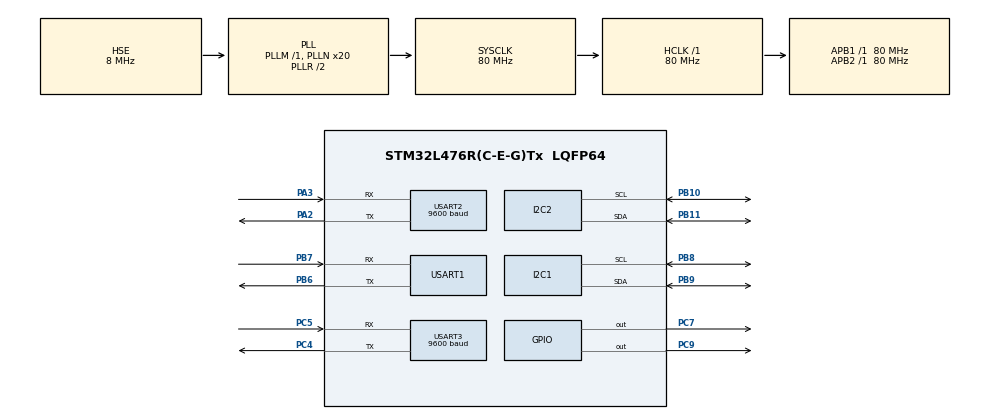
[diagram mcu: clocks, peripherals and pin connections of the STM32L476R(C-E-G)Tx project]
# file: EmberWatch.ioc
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I2C1.Timing=0x10D19CE4
I2C2.Timing=0x10D19CE4
Mcu.Family=STM32L4
Mcu.Name=STM32L476R(C-E-G)Tx
Mcu.Package=LQFP64
NVIC.PriorityGroup=NVIC_PRIORITYGROUP_4
PA2.Mode=Asynchronous
PA2.Signal=USART2_TX
PA3.Mode=Asynchronous
PA3.Signal=USART2_RX
PB10.Mode=I2C
PB10.Signal=I2C2_SCL
PB11.Mode=I2C
PB11.Signal=I2C2_SDA
PB6.Mode=Asynchronous
PB6.Signal=USART1_TX
PB7.Mode=Asynchronous
PB7.Signal=USART1_RX
PB8.Mode=I2C
PB8.Signal=I2C1_SCL
PB9.Mode=I2C
PB9.Signal=I2C1_SDA
PC14-OSC32_IN\ (PC14).Mode=LSE-External-Oscillator
PC14-OSC32_IN\ (PC14).Signal=RCC_OSC32_IN
PC15-OSC32_OUT\ (PC15).Mode=LSE-External-Oscillator
PC15-OSC32_OUT\ (PC15).Signal=RCC_OSC32_OUT
PC4.Mode=Asynchronous
PC4.Signal=USART3_TX
PC5.Mode=Asynchronous
PC5.Signal=USART3_RX
PC7.Signal=GPIO_Output
PC9.Signal=GPIO_Output
PH0-OSC_IN\ (PH0).Mode=HSE-External-Oscillator
PH0-OSC_IN\ (PH0).Signal=RCC_OSC_IN
PH1-OSC_OUT\ (PH1).Mode=HSE-External-Oscillator
PH1-OSC_OUT\ (PH1).Signal=RCC_OSC_OUT
ProjectManager.HeapSize=0x200
ProjectManager.StackSize=0x400
ProjectManager.TargetToolchain=STM32CubeIDE
RCC.ADCFreq_Value=32000000
RCC.AHBFreq_Value=80000000
RCC.APB1Freq_Value=80000000
RCC.APB1TimFreq_Value=80000000
RCC.APB2Freq_Value=80000000
RCC.APB2TimFreq_Value=80000000
RCC.CortexFreq_Value=80000000
RCC.HCLKFreq_Value=80000000
RCC.HSE_VALUE=8000000
RCC.HSI_VALUE=16000000
RCC.LSE_Drive_CapabilityArg=+LSE_Drive_Capability
RCC.MSIAutoCalibration=DISABLED
RCC.MSI_VALUE=4000000
RCC.PLLN=20
RCC.PLLSourceVirtual=RCC_PLLSOURCE_HSE
RCC.RTCClockSelection=RCC_RTCCLKSOURCE_LSE
RCC.SYSCLKFreq_VALUE=80000000
RCC.SYSCLKSource=RCC_SYSCLKSOURCE_PLLCLK
RCC.USBFreq_Value=32000000
RCC.VCOOutputFreq_Value=160000000
USART1.VirtualMode-Asynchronous=VM_ASYNC
USART2.BaudRate=9600
USART2.VirtualMode-Asynchronous=VM_ASYNC
USART3.BaudRate=9600
USART3.VirtualMode-Asynchronous=VM_ASYNC
VP_RTC_VS_RTC_Activate.Mode=RTC_Enabled
board=custom

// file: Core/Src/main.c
/* USER CODE BEGIN Header */
/**
  ******************************************************************************
  * @file           : main.c
  * @brief          : Main program body
  ******************************************************************************
  * @attention
  *
  * Copyright (c) 2026 STMicroelectronics.
  * All rights reserved.
  *
  * This software is licensed under terms that can be found in the LICENSE file
  * in the root directory of this software component.
  * If no LICENSE file comes with this software, it is provided AS-IS.
  *
  ******************************************************************************
  */
/* USER CODE END Header */
#include "main.h"

/* USER CODE BEGIN Includes */
#include "bme.h"
#include "co.h"
#include "co2.h"
#include "gps.h"
#include "lora.h"
/* USER CODE END Includes */

I2C_HandleTypeDef hi2c1;
I2C_HandleTypeDef hi2c2;

RTC_HandleTypeDef hrtc;

UART_HandleTypeDef huart1;
UART_HandleTypeDef huart2;
UART_HandleTypeDef huart3;

void SystemClock_Config(void);
static void MX_GPIO_Init(void);
static void MX_I2C1_Init(void);
static void MX_I2C2_Init(void);
static void MX_USART1_UART_Init(void);
static void MX_USART2_UART_Init(void);
static void MX_USART3_UART_Init(void);
static void MX_RTC_Init(void);

int main(void)
{

  /* MCU Configuration--------------------------------------------------------*/

  /* Reset of all peripherals, Initializes the Flash interface and the Systick. */
  HAL_Init();

  /* Configure the system clock */
  SystemClock_Config();

  /* Initialize all configured peripherals */
  MX_GPIO_Init();
  MX_I2C1_Init();
  MX_I2C2_Init();
  MX_USART1_UART_Init();
  MX_USART2_UART_Init();
  MX_USART3_UART_Init();
  MX_RTC_Init();

  /* USER CODE BEGIN 2 */
  LoRa_Init();
  BME280_Init();
  CO_Init();
  CO2_Init();
  float temp, hum, press, co;
  uint16_t co2;
  GPS_Data_t gps = {0};

  // Send GPS on startup
//  uint32_t gps_start = HAL_GetTick();
//  while ((HAL_GetTick() - gps_start) < 30000) { // wait up to 30s
//
//      GPS_TryRead(&gps);
//      if(gps.valid){
//		  LoRa_SendLocationPacket(gps.lat, gps.lon);
//		  break;
//      }
//      HAL_Delay(500);
//  }

  uint32_t last_data_send = HAL_GetTick();
  uint32_t last_loc_send = HAL_GetTick();
  uint32_t last_toggle = HAL_GetTick();

  /* USER CODE END 2 */

  /* Infinite loop */
  while (1)
  {

    /* USER CODE BEGIN 3 */

	  // LED test code
	  uint32_t now = HAL_GetTick();
	  if ((now - last_toggle) >= 250) {
	      last_toggle += 250;
	      HAL_GPIO_TogglePin(GPIOC, GPIO_PIN_7 | GPIO_PIN_9);
	  }

	  // Location data
	  if ((now - last_loc_send) >= 50000) {
		  last_loc_send += 50000;
		  GPS_TryRead(&gps);
		  LoRa_SendLocationPacket(gps.lat, gps.lon);
	  }

	  // Sensor data
	  if ((now - last_data_send) >= 5000) {
	      last_data_send += 5000;
	      GPS_TryRead(&gps);
	      LoRa_SendLocationPacket(gps.lat, gps.lon);
	      BME280_Read(&temp, &hum, &press);
	      CO_Read(&co);
	      CO2_Read(&co2);
	      LoRa_SendBasePacket(temp, hum, press, co, co2);
	  }

  }
  /* USER CODE END 3 */
}

void SystemClock_Config(void)
{
  RCC_OscInitTypeDef RCC_OscInitStruct = {0};
  RCC_ClkInitTypeDef RCC_ClkInitStruct = {0};

  /** Configure the main internal regulator output voltage
  */
  if (HAL_PWREx_ControlVoltageScaling(PWR_REGULATOR_VOLTAGE_SCALE1) != HAL_OK)
  {
    Error_Handler();
  }

  /** Configure LSE Drive Capability
  */
  HAL_PWR_EnableBkUpAccess();
  __HAL_RCC_LSEDRIVE_CONFIG(RCC_LSEDRIVE_LOW);

  /** Initializes the RCC Oscillators according to the specified parameters
  * in the RCC_OscInitTypeDef structure.
  */
  RCC_OscInitStruct.OscillatorType = RCC_OSCILLATORTYPE_HSE|RCC_OSCILLATORTYPE_LSE;
  RCC_OscInitStruct.HSEState = RCC_HSE_ON;
  RCC_OscInitStruct.LSEState = RCC_LSE_ON;
  RCC_OscInitStruct.PLL.PLLState = RCC_PLL_ON;
  RCC_OscInitStruct.PLL.PLLSource = RCC_PLLSOURCE_HSE;
  RCC_OscInitStruct.PLL.PLLM = 1;
  RCC_OscInitStruct.PLL.PLLN = 20;
  RCC_OscInitStruct.PLL.PLLP = RCC_PLLP_DIV7;
  RCC_OscInitStruct.PLL.PLLQ = RCC_PLLQ_DIV2;
  RCC_OscInitStruct.PLL.PLLR = RCC_PLLR_DIV2;
  if (HAL_RCC_OscConfig(&RCC_OscInitStruct) != HAL_OK)
  {
    Error_Handler();
  }

  /** Initializes the CPU, AHB and APB buses clocks
  */
  RCC_ClkInitStruct.ClockType = RCC_CLOCKTYPE_HCLK|RCC_CLOCKTYPE_SYSCLK
                              |RCC_CLOCKTYPE_PCLK1|RCC_CLOCKTYPE_PCLK2;
  RCC_ClkInitStruct.SYSCLKSource = RCC_SYSCLKSOURCE_PLLCLK;
  RCC_ClkInitStruct.AHBCLKDivider = RCC_SYSCLK_DIV1;
  RCC_ClkInitStruct.APB1CLKDivider = RCC_HCLK_DIV1;
  RCC_ClkInitStruct.APB2CLKDivider = RCC_HCLK_DIV1;

  if (HAL_RCC_ClockConfig(&RCC_ClkInitStruct, FLASH_LATENCY_4) != HAL_OK)
  {
    Error_Handler();
  }
}

static void MX_I2C1_Init(void)
{

  hi2c1.Instance = I2C1;
  hi2c1.Init.Timing = 0x10D19CE4;
  hi2c1.Init.OwnAddress1 = 0;
  hi2c1.Init.AddressingMode = I2C_ADDRESSINGMODE_7BIT;
  hi2c1.Init.DualAddressMode = I2C_DUALADDRESS_DISABLE;
  hi2c1.Init.OwnAddress2 = 0;
  hi2c1.Init.OwnAddress2Masks = I2C_OA2_NOMASK;
  hi2c1.Init.GeneralCallMode = I2C_GENERALCALL_DISABLE;
  hi2c1.Init.NoStretchMode = I2C_NOSTRETCH_DISABLE;
  if (HAL_I2C_Init(&hi2c1) != HAL_OK)
  {
    Error_Handler();
  }

  /** Configure Analogue filter
  */
  if (HAL_I2CEx_ConfigAnalogFilter(&hi2c1, I2C_ANALOGFILTER_ENABLE) != HAL_OK)
  {
    Error_Handler();
  }

  /** Configure Digital filter
  */
  if (HAL_I2CEx_ConfigDigitalFilter(&hi2c1, 0) != HAL_OK)
  {
    Error_Handler();
  }

}

static void MX_I2C2_Init(void)
{

  hi2c2.Instance = I2C2;
  hi2c2.Init.Timing = 0x10D19CE4;
  hi2c2.Init.OwnAddress1 = 0;
  hi2c2.Init.AddressingMode = I2C_ADDRESSINGMODE_7BIT;
  hi2c2.Init.DualAddressMode = I2C_DUALADDRESS_DISABLE;
  hi2c2.Init.OwnAddress2 = 0;
  hi2c2.Init.OwnAddress2Masks = I2C_OA2_NOMASK;
  hi2c2.Init.GeneralCallMode = I2C_GENERALCALL_DISABLE;
  hi2c2.Init.NoStretchMode = I2C_NOSTRETCH_DISABLE;
  if (HAL_I2C_Init(&hi2c2) != HAL_OK)
  {
    Error_Handler();
  }

  /** Configure Analogue filter
  */
  if (HAL_I2CEx_ConfigAnalogFilter(&hi2c2, I2C_ANALOGFILTER_ENABLE) != HAL_OK)
  {
    Error_Handler();
  }

  /** Configure Digital filter
  */
  if (HAL_I2CEx_ConfigDigitalFilter(&hi2c2, 0) != HAL_OK)
  {
    Error_Handler();
  }

}

static void MX_RTC_Init(void)
{

  /** Initialize RTC Only
  */
  hrtc.Instance = RTC;
  hrtc.Init.HourFormat = RTC_HOURFORMAT_24;
  hrtc.Init.AsynchPrediv = 127;
  hrtc.Init.SynchPrediv = 255;
  hrtc.Init.OutPut = RTC_OUTPUT_DISABLE;
  hrtc.Init.OutPutRemap = RTC_OUTPUT_REMAP_NONE;
  hrtc.Init.OutPutPolarity = RTC_OUTPUT_POLARITY_HIGH;
  hrtc.Init.OutPutType = RTC_OUTPUT_TYPE_OPENDRAIN;
  if (HAL_RTC_Init(&hrtc) != HAL_OK)
  {
    Error_Handler();
  }

}

static void MX_USART1_UART_Init(void)
{

  huart1.Instance = USART1;
  huart1.Init.BaudRate = 115200;
  huart1.Init.WordLength = UART_WORDLENGTH_8B;
  huart1.Init.StopBits = UART_STOPBITS_1;
  huart1.Init.Parity = UART_PARITY_NONE;
  huart1.Init.Mode = UART_MODE_TX_RX;
  huart1.Init.HwFlowCtl = UART_HWCONTROL_NONE;
  huart1.Init.OverSampling = UART_OVERSAMPLING_16;
  huart1.Init.OneBitSampling = UART_ONE_BIT_SAMPLE_DISABLE;
  huart1.AdvancedInit.AdvFeatureInit = UART_ADVFEATURE_NO_INIT;
  if (HAL_UART_Init(&huart1) != HAL_OK)
  {
    Error_Handler();
  }

}

static void MX_USART2_UART_Init(void)
{

  huart2.Instance = USART2;
  huart2.Init.BaudRate = 9600;
  huart2.Init.WordLength = UART_WORDLENGTH_8B;
  huart2.Init.StopBits = UART_STOPBITS_1;
  huart2.Init.Parity = UART_PARITY_NONE;
  huart2.Init.Mode = UART_MODE_TX_RX;
  huart2.Init.HwFlowCtl = UART_HWCONTROL_NONE;
  huart2.Init.OverSampling = UART_OVERSAMPLING_16;
  huart2.Init.OneBitSampling = UART_ONE_BIT_SAMPLE_DISABLE;
  huart2.AdvancedInit.AdvFeatureInit = UART_ADVFEATURE_NO_INIT;
  if (HAL_UART_Init(&huart2) != HAL_OK)
  {
    Error_Handler();
  }

}

static void MX_USART3_UART_Init(void)
{

  huart3.Instance = USART3;
  huart3.Init.BaudRate = 9600;
  huart3.Init.WordLength = UART_WORDLENGTH_8B;
  huart3.Init.StopBits = UART_STOPBITS_1;
  huart3.Init.Parity = UART_PARITY_NONE;
  huart3.Init.Mode = UART_MODE_TX_RX;
  huart3.Init.HwFlowCtl = UART_HWCONTROL_NONE;
  huart3.Init.OverSampling = UART_OVERSAMPLING_16;
  huart3.Init.OneBitSampling = UART_ONE_BIT_SAMPLE_DISABLE;
  huart3.AdvancedInit.AdvFeatureInit = UART_ADVFEATURE_NO_INIT;
  if (HAL_UART_Init(&huart3) != HAL_OK)
  {
    Error_Handler();
  }

}

static void MX_GPIO_Init(void)
{
  GPIO_InitTypeDef GPIO_InitStruct = {0};

  /* GPIO Ports Clock Enable */
  __HAL_RCC_GPIOC_CLK_ENABLE();
  __HAL_RCC_GPIOH_CLK_ENABLE();
  __HAL_RCC_GPIOA_CLK_ENABLE();
  __HAL_RCC_GPIOB_CLK_ENABLE();

  /*Configure GPIO pin Output Level */
  HAL_GPIO_WritePin(GPIOC, GPIO_PIN_7|GPIO_PIN_9, GPIO_PIN_RESET);

  /*Configure GPIO pins : PC7 PC9 */
  GPIO_InitStruct.Pin = GPIO_PIN_7|GPIO_PIN_9;
  GPIO_InitStruct.Mode = GPIO_MODE_OUTPUT_PP;
  GPIO_InitStruct.Pull = GPIO_NOPULL;
  GPIO_InitStruct.Speed = GPIO_SPEED_FREQ_LOW;
  HAL_GPIO_Init(GPIOC, &GPIO_InitStruct);

}

void Error_Handler(void)
{
  __disable_irq();
  while (1)
  {
  }
}
